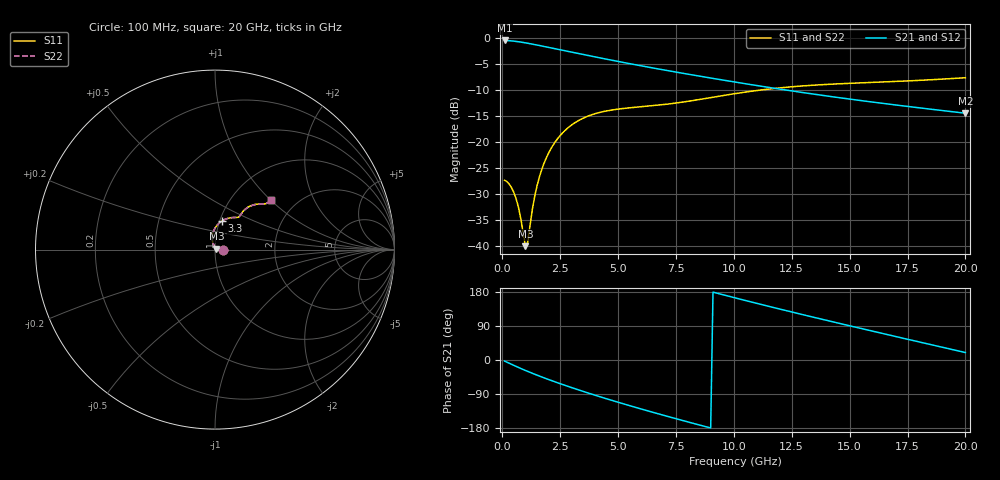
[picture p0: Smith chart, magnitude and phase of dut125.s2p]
! Touchstone file exported from HFSS 2023.1.0
!  File:  D:/Users/fzz/RDL_TSV/temp_RDL_TSV_125_1778750947.aedt
!  Generated:  5:41:56 %x4E0B%x5348  5%x6708 14, 2026
!  Design:  RDL_TSV
!  Project:  temp_RDL_TSV_125_1778750947
!  Setup:  Setup1
!  Solution:  Sweep
! Variables:
!  dtsv = 18.02um
!  hbump = 3um
!  htsv = 93.19um
!  ldown = 429.19um
!  lrdl = 696.88um
!  p = 40
!  p1 = 42.02um
!  rhole = 10um
!  subl = 4075.09um
!  t = 450um
!  tdown = 2.74um
!  trdl = 2.48um
!  viad = 10um
!  wdown = 13.59um
!  wrdl = 11.77um
!  xbump = 18um
# GHz S MA R 50.000000
! Terminal data exported
! Port[1] = TM1_1_T1
! Port[2] = TM1_4_T1
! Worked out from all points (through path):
!   200 points, 100 MHz to 20 GHz, reference 50 ohm
!   highest |S21| = -0.39 dB at 100 MHz (marker M1); lowest = -14.4 dB at 20 GHz (marker M2)
!   group delay of S21, straight-line fit = 45.2 ps
!   lowest |S11| = -40.0 dB at 1 GHz (marker M3), VSWR 1.02, Z = 50.8 + j0.567 ohm
!   |S11| at or under -10 dB: start of sweep to 11.04 GHz
!   |S22| runs from -40.0 to -7.6 dB; largest |S21 - S12| = 2e-14
!   S11 on the Smith chart (normalised r, x): 100 MHz: 1.09, -0.00; 3.3 GHz: 1.02, +0.33; 20 GHz: 1.51, +1.01
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0.1  0.04325 -2.2  0.9557 -2.9  0.9557 -2.9  0.04324 -2.2
! Gamma 0 0 0 0
! Port Impedance 50 0 50 0
0.4  0.03663 -8.3  0.9465 -11.4  0.9465 -11.4  0.03663 -8.3
0.6  0.02852 -10.0  0.9358 -17.0  0.9358 -17.0  0.02851 -10.0
0.8  0.01843 -4.5  0.9222 -22.4  0.9222 -22.4  0.01842 -4.5
1  0.01003 33.8  0.9066 -27.6  0.9066 -27.6  0.01002 33.9
1.1  0.01096 71.0  0.8983 -30.2  0.8983 -30.2  0.01097 71.2
1.3  0.02275 102.3  0.8811 -35.2  0.8811 -35.2  0.02279 102.3
1.5  0.03819 106.8  0.8636 -40.0  0.8636 -40.0  0.03824 106.9
1.7  0.05448 105.5  0.846 -44.7  0.846 -44.7  0.05455 105.5
1.9  0.07083 102.4  0.8285 -49.3  0.8285 -49.3  0.07092 102.4
2.5  0.1163 90.8  0.7777 -62.5  0.7777 -62.5  0.1165 90.8
3.3  0.1624 76.8  0.7147 -79.1  0.7147 -79.1  0.1627 76.8
3.5  0.1711 73.8  0.6998 -83.1  0.6998 -83.1  0.1714 73.9
5.1  0.2103 58.2  0.5944 -113.3  0.5944 -113.3  0.2108 58.2
5.9  0.219 54.9  0.5499 -127.6  0.5499 -127.6  0.2196 54.9
6.8  0.2288 53.7  0.5054 -143.1  0.5054 -143.1  0.2294 53.6
8.3  0.2539 53.8  0.4418 -168.1  0.4418 -168.1  0.2544 53.7
10.1  0.2954 52.4  0.3787 163.2  0.3787 163.2  0.2954 52.2
11.7  0.3292 49.3  0.3326 138.7  0.3326 138.7  0.3287 49.1
13.4  0.3544 45.8  0.2921 113.4  0.2921 113.4  0.3535 45.6
16.7  0.383 42.0  0.2331 66.0  0.2331 66.0  0.3814 42.0
20  0.4184 41.3  0.1907 19.7  0.1907 19.7  0.4169 41.5
